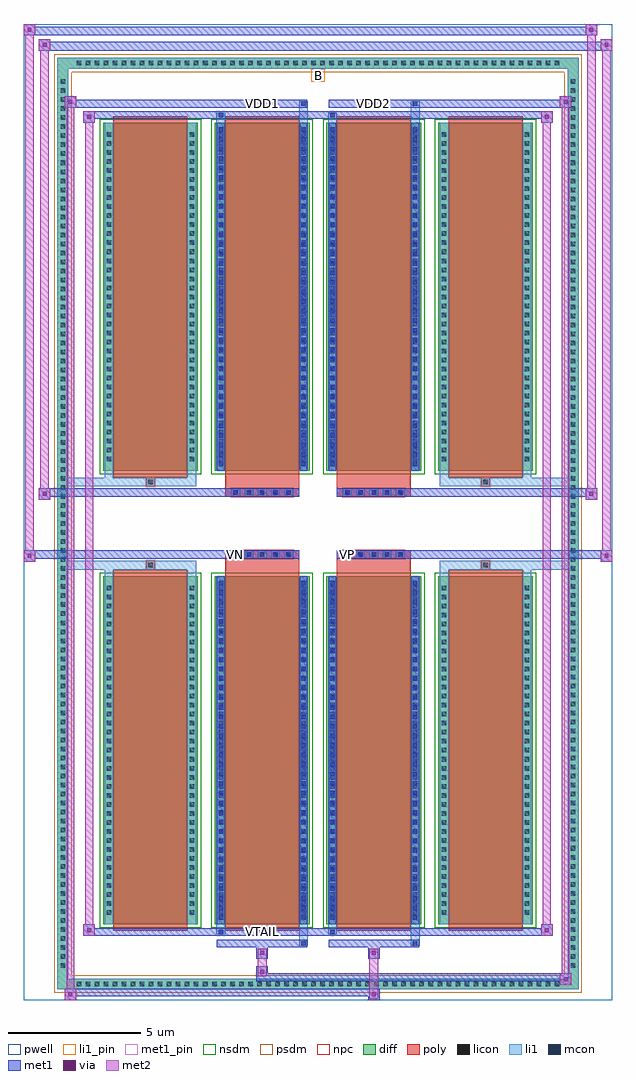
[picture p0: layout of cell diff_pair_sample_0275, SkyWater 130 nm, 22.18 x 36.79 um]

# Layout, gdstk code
import gdstk
lib = gdstk.Library(unit=1e-6, precision=5e-09)
def R(c, l, rs):  # rectangles x0, y0, x1, y1
    for r in rs: c.add(gdstk.rectangle(r[:2], r[2:], *l))
def A(c, l, x, y, w, h, nx, ny, dx, dy):  # array of equal rectangles
    R(c, l, [(x+i*dx, y+j*dy, x+i*dx+w, y+j*dy+h) for i in range(nx) for j in range(ny)])
def P(c, l, *ps):  # polygons
    for p in ps: c.add(gdstk.Polygon(p, *l))
pwell = (64, 44)
diff = (65, 20)
poly = (66, 20)
licon = (66, 44)
li1_pin = (67, 16)
li1 = (67, 20)
mcon = (67, 44)
met1_pin = (68, 16)
met1 = (68, 20)
via = (68, 44)
met2 = (69, 20)
nsdm = (93, 44)
psdm = (94, 20)
npc = (95, 20)

diff_pair_sample_0275 = lib.new_cell('diff_pair_sample_0275')
R(diff_pair_sample_0275, pwell, [(-11.09,-17.96,11.09,18.83), (-8.41,-16.15,-0.01,-0.805), (0.01,-16.15,8.41,-0.805), (-8.41,0.805,-0.01,16.15), (0.01,0.805,8.41,16.15)])
A(diff_pair_sample_0275, diff, -9.215, -17.56, 0.41, 0.41, 54, 2, 0.34, 34.71)
A(diff_pair_sample_0275, diff, -9.82, -16.865, 0.41, 0.41, 1, 99, 0, 0.34)
A(diff_pair_sample_0275, diff, 9.41, -16.865, 0.41, 0.41, 1, 99, 0, 0.34)
A(diff_pair_sample_0275, diff, -8.1, -15.105, 3.57, 13.12, 4, 2, 4.21, 17.09)
R(diff_pair_sample_0275, diff, [(-9.215,-17.56,9.215,-17.15), (-9.82,-16.865,-9.41,16.865), (9.41,-16.865,9.82,16.865), (-9.215,17.15,9.215,17.56)])
P(diff_pair_sample_0275, diff, [(9.82,17.56),(-9.82,17.56),(-9.82,-17.15),(-9.41,-17.15),(-9.41,17.15),(9.41,17.15),(9.41,-17.15),(-9.41,-17.15),(-9.82,-17.15),(-9.82,-17.56),(9.82,-17.56)])
A(diff_pair_sample_0275, poly, -7.71, -15.355, 2.79, 13.62, 4, 2, 4.21, 17.09)
A(diff_pair_sample_0275, poly, -3.27, -1.335, 0.33, 0.33, 5, 2, 0.5, 2.34)
A(diff_pair_sample_0275, poly, 0.94, -1.335, 0.33, 0.33, 5, 2, 0.5, 2.34)
R(diff_pair_sample_0275, poly, [(-6.48,-1.735,-6.15,-1.405), (-6.48,-1.735,-6.15,-1.405), (-3.5,-1.735,-0.71,-1.335), (0.71,-1.735,3.5,-1.335), (6.15,-1.735,6.48,-1.405), (6.15,-1.735,6.48,-1.405), (-3.5,-1.335,-0.71,-1.005), (0.71,-1.335,3.5,-1.005), (-3.5,1.005,-0.71,1.335), (0.71,1.005,3.5,1.335), (-3.5,1.335,-0.71,1.735), (0.71,1.335,3.5,1.735), (-6.48,1.405,-6.15,1.735), (-6.48,1.405,-6.15,1.735), (6.15,1.405,6.48,1.735), (6.15,1.405,6.48,1.735)])
A(diff_pair_sample_0275, licon, -9.095, -17.44, 0.17, 0.17, 54, 2, 0.34, 34.71)
A(diff_pair_sample_0275, licon, -9.7, -16.745, 0.17, 0.17, 1, 99, 0, 0.34)
A(diff_pair_sample_0275, licon, 9.53, -16.745, 0.17, 0.17, 1, 99, 0, 0.34)
A(diff_pair_sample_0275, licon, -7.96, -14.75, 0.17, 0.17, 1, 37, 0, 0.34)
A(diff_pair_sample_0275, licon, -4.84, -14.75, 0.17, 0.17, 1, 37, 0, 0.34)
A(diff_pair_sample_0275, licon, -3.75, -14.75, 0.17, 0.17, 1, 37, 0, 0.34)
A(diff_pair_sample_0275, licon, -0.63, -14.75, 0.17, 0.17, 1, 37, 0, 0.34)
A(diff_pair_sample_0275, licon, 0.46, -14.75, 0.17, 0.17, 1, 37, 0, 0.34)
A(diff_pair_sample_0275, licon, 3.58, -14.75, 0.17, 0.17, 1, 37, 0, 0.34)
A(diff_pair_sample_0275, licon, 4.67, -14.75, 0.17, 0.17, 1, 37, 0, 0.34)
A(diff_pair_sample_0275, licon, 7.79, -14.75, 0.17, 0.17, 1, 37, 0, 0.34)
A(diff_pair_sample_0275, licon, -3.19, -1.255, 0.17, 0.17, 5, 2, 0.5, 2.34)
A(diff_pair_sample_0275, licon, 1.02, -1.255, 0.17, 0.17, 5, 2, 0.5, 2.34)
A(diff_pair_sample_0275, licon, -7.96, 2.34, 0.17, 0.17, 1, 37, 0, 0.34)
A(diff_pair_sample_0275, licon, -4.84, 2.34, 0.17, 0.17, 1, 37, 0, 0.34)
A(diff_pair_sample_0275, licon, -3.75, 2.34, 0.17, 0.17, 1, 37, 0, 0.34)
A(diff_pair_sample_0275, licon, -0.63, 2.34, 0.17, 0.17, 1, 37, 0, 0.34)
A(diff_pair_sample_0275, licon, 0.46, 2.34, 0.17, 0.17, 1, 37, 0, 0.34)
A(diff_pair_sample_0275, licon, 3.58, 2.34, 0.17, 0.17, 1, 37, 0, 0.34)
A(diff_pair_sample_0275, licon, 4.67, 2.34, 0.17, 0.17, 1, 37, 0, 0.34)
A(diff_pair_sample_0275, licon, 7.79, 2.34, 0.17, 0.17, 1, 37, 0, 0.34)
R(diff_pair_sample_0275, licon, [(-6.4,-1.655,-6.23,-1.485), (6.23,-1.655,6.4,-1.485), (-6.4,1.485,-6.23,1.655), (6.23,1.485,6.4,1.655)])
R(diff_pair_sample_0275, li1_pin, [(-0.25,16.65,0.25,17.15)])
A(diff_pair_sample_0275, li1, -9.175, -17.52, 0.33, 0.33, 54, 2, 0.34, 34.71)
A(diff_pair_sample_0275, li1, -9.78, -16.825, 0.33, 0.33, 1, 99, 0, 0.34)
A(diff_pair_sample_0275, li1, 9.45, -16.825, 0.33, 0.33, 1, 99, 0, 0.34)
A(diff_pair_sample_0275, li1, -3.75, -14.93, 0.17, 0.17, 1, 36, 0, 0.36)
A(diff_pair_sample_0275, li1, -0.63, -14.93, 0.17, 0.17, 1, 36, 0, 0.36)
A(diff_pair_sample_0275, li1, 0.46, -14.93, 0.17, 0.17, 1, 36, 0, 0.36)
A(diff_pair_sample_0275, li1, 3.58, -14.93, 0.17, 0.17, 1, 36, 0, 0.36)
A(diff_pair_sample_0275, li1, -8.04, -14.83, 0.33, 0.33, 1, 37, 0, 0.34)
A(diff_pair_sample_0275, li1, -4.92, -14.83, 0.33, 0.33, 1, 37, 0, 0.34)
A(diff_pair_sample_0275, li1, -3.83, -14.83, 0.33, 0.33, 1, 37, 0, 0.34)
A(diff_pair_sample_0275, li1, -0.71, -14.83, 0.33, 0.33, 1, 37, 0, 0.34)
A(diff_pair_sample_0275, li1, 0.38, -14.83, 0.33, 0.33, 1, 37, 0, 0.34)
A(diff_pair_sample_0275, li1, 3.5, -14.83, 0.33, 0.33, 1, 37, 0, 0.34)
A(diff_pair_sample_0275, li1, 4.59, -14.83, 0.33, 0.33, 1, 37, 0, 0.34)
A(diff_pair_sample_0275, li1, 7.71, -14.83, 0.33, 0.33, 1, 37, 0, 0.34)
A(diff_pair_sample_0275, li1, -3.27, -1.335, 0.33, 0.33, 5, 2, 0.5, 2.34)
A(diff_pair_sample_0275, li1, 0.94, -1.335, 0.33, 0.33, 5, 2, 0.5, 2.34)
A(diff_pair_sample_0275, li1, -3.75, 2.16, 0.17, 0.17, 1, 36, 0, 0.36)
A(diff_pair_sample_0275, li1, -0.63, 2.16, 0.17, 0.17, 1, 36, 0, 0.36)
A(diff_pair_sample_0275, li1, 0.46, 2.16, 0.17, 0.17, 1, 36, 0, 0.36)
A(diff_pair_sample_0275, li1, 3.58, 2.16, 0.17, 0.17, 1, 36, 0, 0.36)
A(diff_pair_sample_0275, li1, -8.04, 2.26, 0.33, 0.33, 1, 37, 0, 0.34)
A(diff_pair_sample_0275, li1, -4.92, 2.26, 0.33, 0.33, 1, 37, 0, 0.34)
A(diff_pair_sample_0275, li1, -3.83, 2.26, 0.33, 0.33, 1, 37, 0, 0.34)
A(diff_pair_sample_0275, li1, -0.71, 2.26, 0.33, 0.33, 1, 37, 0, 0.34)
A(diff_pair_sample_0275, li1, 0.38, 2.26, 0.33, 0.33, 1, 37, 0, 0.34)
A(diff_pair_sample_0275, li1, 3.5, 2.26, 0.33, 0.33, 1, 37, 0, 0.34)
A(diff_pair_sample_0275, li1, 4.59, 2.26, 0.33, 0.33, 1, 37, 0, 0.34)
A(diff_pair_sample_0275, li1, 7.71, 2.26, 0.33, 0.33, 1, 37, 0, 0.34)
R(diff_pair_sample_0275, li1, [(-9.82,-17.56,-9.41,-17.15), (-9.82,-17.56,-9.41,-17.15), (-9.41,-17.56,9.41,-17.15), (9.41,-17.56,9.82,-17.15), (9.41,-17.56,9.82,-17.15), (-9.82,-17.15,-9.41,17.15), (9.41,-17.15,9.82,17.15), (-0.71,-15.91,-0.38,-15.105), (-0.63,-15.91,-0.46,-15.74), (3.5,-15.91,3.83,-15.105), (3.58,-15.91,3.75,-15.74), (-3.83,-15.48,-3.5,-15.105), (-3.75,-15.48,-3.58,-15.31), (0.38,-15.48,0.71,-15.105), (0.46,-15.48,0.63,-15.31), (-8.04,-15.105,-7.71,-1.985), (-4.92,-15.105,-4.59,-1.985), (-3.83,-15.105,-3.5,-1.985), (-0.71,-15.105,-0.38,-1.985), (0.38,-15.105,0.71,-1.985), (3.5,-15.105,3.83,-1.985), (4.59,-15.105,4.92,-1.985), (7.71,-15.105,8.04,-1.985), (-3.75,-14.93,-3.58,-2.16), (-0.63,-14.93,-0.46,-2.16), (0.46,-14.93,0.63,-2.16), (3.58,-14.93,3.75,-2.16), (-8.04,-1.985,-7.71,-1.405), (-4.92,-1.985,-4.59,-1.405), (4.59,-1.985,4.92,-1.405), (7.71,-1.985,8.04,-1.405), (-9.82,-1.735,-6.48,-1.405), (-8.04,-1.735,-6.48,-1.405), (-6.48,-1.735,-6.15,-1.405), (-6.15,-1.735,-4.59,-1.405), (4.59,-1.735,6.15,-1.405), (6.15,-1.735,6.48,-1.405), (6.15,-1.735,9.82,-1.405), (6.48,-1.735,8.04,-1.405), (-9.82,1.405,-6.48,1.735), (-8.04,1.405,-6.48,1.735), (-8.04,1.405,-7.71,1.985), (-6.48,1.405,-6.15,1.735), (-6.15,1.405,-4.59,1.735), (-4.92,1.405,-4.59,1.985), (4.59,1.405,6.15,1.735), (4.59,1.405,4.92,1.985), (6.15,1.405,6.48,1.735), (6.15,1.405,9.82,1.735), (6.48,1.405,8.04,1.735), (7.71,1.405,8.04,1.985), (-8.04,1.985,-7.71,15.105), (-4.92,1.985,-4.59,15.105), (-3.83,1.985,-3.5,15.105), (-0.71,1.985,-0.38,15.105), (0.38,1.985,0.71,15.105), (3.5,1.985,3.83,15.105), (4.59,1.985,4.92,15.105), (7.71,1.985,8.04,15.105), (-3.75,2.16,-3.58,14.93), (-0.63,2.16,-0.46,14.93), (0.46,2.16,0.63,14.93), (3.58,2.16,3.75,14.93), (-3.83,15.105,-3.5,15.48), (-0.71,15.105,-0.38,15.91), (0.38,15.105,0.71,15.48), (3.5,15.105,3.83,15.91), (-3.75,15.31,-3.58,15.48), (0.46,15.31,0.63,15.48), (-0.63,15.74,-0.46,15.91), (3.58,15.74,3.75,15.91), (-9.82,17.15,-9.41,17.56), (-9.82,17.15,-9.41,17.56), (-9.41,17.15,9.41,17.56), (9.41,17.15,9.82,17.56), (9.41,17.15,9.82,17.56)])
A(diff_pair_sample_0275, mcon, -3.75, -14.93, 0.17, 0.17, 1, 36, 0, 0.36)
A(diff_pair_sample_0275, mcon, -0.63, -14.93, 0.17, 0.17, 1, 36, 0, 0.36)
A(diff_pair_sample_0275, mcon, 0.46, -14.93, 0.17, 0.17, 1, 36, 0, 0.36)
A(diff_pair_sample_0275, mcon, 3.58, -14.93, 0.17, 0.17, 1, 36, 0, 0.36)
A(diff_pair_sample_0275, mcon, -3.19, -1.255, 0.17, 0.17, 5, 2, 0.5, 2.34)
A(diff_pair_sample_0275, mcon, 1.02, -1.255, 0.17, 0.17, 5, 2, 0.5, 2.34)
A(diff_pair_sample_0275, mcon, -3.75, 2.16, 0.17, 0.17, 1, 36, 0, 0.36)
A(diff_pair_sample_0275, mcon, -0.63, 2.16, 0.17, 0.17, 1, 36, 0, 0.36)
A(diff_pair_sample_0275, mcon, 0.46, 2.16, 0.17, 0.17, 1, 36, 0, 0.36)
A(diff_pair_sample_0275, mcon, 3.58, 2.16, 0.17, 0.17, 1, 36, 0, 0.36)
R(diff_pair_sample_0275, mcon, [(-0.63,-15.91,-0.46,-15.74), (3.58,-15.91,3.75,-15.74), (-3.75,-15.48,-3.58,-15.31), (0.46,-15.48,0.63,-15.31), (-3.75,15.31,-3.58,15.48), (0.46,15.31,0.63,15.48), (-0.63,15.74,-0.46,15.91), (3.58,15.74,3.75,15.91)])
R(diff_pair_sample_0275, met1_pin, [(-2.24,-15.52,-1.97,-15.25), (-3.24,-1.295,-2.97,-1.025), (0.97,-1.295,1.24,-1.025), (-2.24,15.7,-1.97,15.97), (1.97,15.7,2.24,15.97)])
A(diff_pair_sample_0275, met1, -3.81, -14.99, 0.29, 0.29, 1, 36, 0, 0.36)
A(diff_pair_sample_0275, met1, -0.69, -14.99, 0.29, 0.29, 1, 36, 0, 0.36)
A(diff_pair_sample_0275, met1, 0.4, -14.99, 0.29, 0.29, 1, 36, 0, 0.36)
A(diff_pair_sample_0275, met1, 3.52, -14.99, 0.29, 0.29, 1, 36, 0, 0.36)
A(diff_pair_sample_0275, met1, -3.25, -1.315, 0.29, 0.29, 5, 2, 0.5, 2.34)
A(diff_pair_sample_0275, met1, 0.96, -1.315, 0.29, 0.29, 5, 2, 0.5, 2.34)
A(diff_pair_sample_0275, met1, -3.81, 2.1, 0.29, 0.29, 1, 36, 0, 0.36)
A(diff_pair_sample_0275, met1, -0.69, 2.1, 0.29, 0.29, 1, 36, 0, 0.36)
A(diff_pair_sample_0275, met1, 0.4, 2.1, 0.29, 0.29, 1, 36, 0, 0.36)
A(diff_pair_sample_0275, met1, 3.52, 2.1, 0.29, 0.29, 1, 36, 0, 0.36)
R(diff_pair_sample_0275, met1, [(-9.55,-17.96,-9.12,-17.53), (1.89,-17.96,2.32,-17.53), (-9.55,-17.82,2.32,-17.53), (9.12,-17.39,9.55,-16.96), (-2.32,-17.25,9.55,-16.96), (-2.32,-17.11,-1.89,-16.68), (-2.32,-16.4,-1.89,-15.97), (1.89,-16.4,2.32,-15.97), (-3.81,-15.97,-0.4,-15.68), (-0.69,-15.97,-0.4,-15.68), (0.4,-15.97,3.81,-15.68), (3.52,-15.97,3.81,-15.68), (-8.84,-15.54,-8.41,-15.11), (-8.84,-15.54,-3.81,-15.25), (-3.81,-15.54,-3.52,-15.25), (-3.81,-15.54,-0.4,-15.25), (-0.4,-15.54,0.4,-15.25), (0.4,-15.54,0.69,-15.25), (0.4,-15.54,3.81,-15.25), (3.81,-15.54,8.84,-15.25), (8.41,-15.54,8.84,-15.11), (-3.81,-15.105,-3.52,-1.985), (-0.69,-15.105,-0.4,-1.985), (0.4,-15.105,0.69,-1.985), (3.52,-15.105,3.81,-1.985), (-11.09,-1.435,-10.66,-1.005), (10.66,-1.435,11.09,-1.005), (-11.09,-1.335,-0.71,-1.005), (-3.5,-1.335,-0.71,-1.005), (0.71,-1.335,3.5,-1.005), (0.71,-1.335,11.09,-1.005), (-10.52,0.905,-10.09,1.335), (10.09,0.905,10.52,1.335), (-10.52,1.005,-3.5,1.335), (-3.5,1.005,-0.71,1.335), (0.71,1.005,3.5,1.335), (3.5,1.005,10.52,1.335), (-3.81,1.985,-3.52,15.105), (-0.69,1.985,-0.4,15.105), (0.4,1.985,0.69,15.105), (3.52,1.985,3.81,15.105), (-8.84,15.11,-8.41,15.54), (8.41,15.11,8.84,15.54), (-8.84,15.25,-3.81,15.54), (-3.81,15.25,-3.52,15.54), (-3.81,15.25,-0.4,15.54), (-0.4,15.25,0.4,15.54), (0.4,15.25,0.69,15.54), (0.4,15.25,3.81,15.54), (3.81,15.25,8.84,15.54), (-9.55,15.68,-9.12,16.11), (-9.55,15.68,-3.81,15.97), (-3.81,15.68,-0.4,15.97), (-0.69,15.68,-0.4,15.97), (0.4,15.68,3.81,15.97), (3.52,15.68,3.81,15.97), (3.81,15.68,9.55,15.97), (9.12,15.68,9.55,16.11), (-10.52,17.83,-10.09,18.26), (-10.52,17.83,-8.41,18.16), (-8.41,17.83,8.41,18.16), (8.41,17.83,11.09,18.16), (10.66,17.83,11.09,18.26), (-11.09,18.4,-10.66,18.83), (-11.09,18.4,-8.41,18.73), (-8.41,18.4,8.41,18.73), (8.41,18.4,10.52,18.73), (10.09,18.4,10.52,18.83)])
R(diff_pair_sample_0275, via, [(-9.41,-17.82,-9.26,-17.67), (2.03,-17.82,2.18,-17.67), (9.26,-17.25,9.41,-17.1), (-2.18,-16.97,-2.03,-16.82), (-2.18,-16.26,-2.03,-16.11), (2.03,-16.26,2.18,-16.11), (-8.7,-15.4,-8.55,-15.25), (8.55,-15.4,8.7,-15.25), (-10.95,-1.295,-10.8,-1.145), (10.8,-1.295,10.95,-1.145), (-10.38,1.045,-10.23,1.195), (10.23,1.045,10.38,1.195), (-8.7,15.25,-8.55,15.4), (8.55,15.25,8.7,15.4), (-9.41,15.82,-9.26,15.97), (9.26,15.82,9.41,15.97), (-10.38,17.97,-10.23,18.12), (10.8,17.97,10.95,18.12), (-10.95,18.54,-10.8,18.69), (10.23,18.54,10.38,18.69)])
R(diff_pair_sample_0275, met2, [(-9.55,-17.96,-9.12,-17.53), (-9.48,-17.96,-9.19,16.11), (-9.19,-17.96,-9.12,-17.53), (-9.5,-17.91,-9.17,-17.58), (1.94,-17.91,2.27,-17.58), (1.94,-17.58,2.27,-16.35), (9.12,-17.39,9.55,-16.96), (9.19,-17.39,9.48,16.11), (9.48,-17.39,9.55,-16.96), (9.17,-17.34,9.5,-17.01), (-2.27,-17.06,-1.94,-16.73), (-2.27,-16.73,-1.94,-16.35), (-2.27,-16.35,-1.94,-16.02), (1.94,-16.35,2.27,-16.02), (-8.84,-15.54,-8.41,-15.11), (-8.77,-15.54,-8.48,15.54), (-8.48,-15.54,-8.41,-15.11), (8.41,-15.54,8.84,-15.11), (8.48,-15.54,8.77,15.54), (8.77,-15.54,8.84,-15.11), (-8.79,-15.49,-8.46,-15.16), (8.46,-15.49,8.79,-15.16), (-11.09,-1.435,-10.66,-1.005), (-11.04,-1.435,-10.71,18.83), (-10.71,-1.435,-10.66,-1.005), (10.66,-1.435,11.09,-1.005), (10.71,-1.435,11.04,18.26), (11.04,-1.435,11.09,-1.005), (-11.04,-1.385,-10.71,-1.055), (10.71,-1.385,11.04,-1.055), (-10.52,0.905,-10.09,1.335), (-10.47,0.905,-10.14,18.26), (-10.14,0.905,-10.09,1.335), (10.09,0.905,10.52,1.335), (10.14,0.905,10.47,18.83), (10.47,0.905,10.52,1.335), (-10.47,0.955,-10.14,1.285), (10.14,0.955,10.47,1.285), (-8.84,15.11,-8.41,15.54), (-8.48,15.11,-8.41,15.54), (8.41,15.11,8.84,15.54), (8.77,15.11,8.84,15.54), (-8.79,15.16,-8.46,15.49), (8.46,15.16,8.79,15.49), (-9.55,15.68,-9.12,16.11), (-9.19,15.68,-9.12,16.11), (9.12,15.68,9.55,16.11), (9.48,15.68,9.55,16.11), (-9.5,15.73,-9.17,16.06), (9.17,15.73,9.5,16.06), (-10.52,17.83,-10.09,18.26), (-10.14,17.83,-10.09,18.26), (10.66,17.83,11.09,18.26), (11.04,17.83,11.09,18.26), (-10.47,17.88,-10.14,18.21), (10.71,17.88,11.04,18.21), (-11.09,18.4,-10.66,18.83), (-10.71,18.4,-10.66,18.83), (10.09,18.4,10.52,18.83), (10.47,18.4,10.52,18.83), (-11.04,18.45,-10.71,18.78), (10.14,18.45,10.47,18.78)])
A(diff_pair_sample_0275, nsdm, -8.23, -15.235, 3.83, 13.38, 4, 2, 4.21, 17.09)
P(diff_pair_sample_0275, psdm, [(9.95,17.69),(-9.95,17.69),(-9.95,-17.02),(-9.28,-17.02),(-9.28,17.02),(9.28,17.02),(9.28,-17.02),(-9.28,-17.02),(-9.95,-17.02),(-9.95,-17.69),(9.95,-17.69)])
A(diff_pair_sample_0275, npc, -3.29, -1.355, 0.37, 0.37, 5, 2, 0.5, 2.34)
A(diff_pair_sample_0275, npc, 0.92, -1.355, 0.37, 0.37, 5, 2, 0.5, 2.34)
R(diff_pair_sample_0275, npc, [(-6.5,-1.755,-6.13,-1.385), (6.13,-1.755,6.5,-1.385), (-3.29,-1.355,-2.42,-0.985), (-3.29,-1.355,-2.42,-0.985), (-2.79,-1.355,-1.92,-0.985), (-2.79,-1.355,-1.92,-0.985), (-2.29,-1.355,-1.42,-0.985), (-2.29,-1.355,-1.42,-0.985), (-1.79,-1.355,-0.92,-0.985), (-1.79,-1.355,-0.92,-0.985), (0.92,-1.355,1.79,-0.985), (0.92,-1.355,1.79,-0.985), (1.42,-1.355,2.29,-0.985), (1.42,-1.355,2.29,-0.985), (1.92,-1.355,2.79,-0.985), (1.92,-1.355,2.79,-0.985), (2.42,-1.355,3.29,-0.985), (2.42,-1.355,3.29,-0.985), (-3.29,0.985,-2.42,1.355), (-3.29,0.985,-2.42,1.355), (-2.79,0.985,-1.92,1.355), (-2.79,0.985,-1.92,1.355), (-2.29,0.985,-1.42,1.355), (-2.29,0.985,-1.42,1.355), (-1.79,0.985,-0.92,1.355), (-1.79,0.985,-0.92,1.355), (0.92,0.985,1.79,1.355), (0.92,0.985,1.79,1.355), (1.42,0.985,2.29,1.355), (1.42,0.985,2.29,1.355), (1.92,0.985,2.79,1.355), (1.92,0.985,2.79,1.355), (2.42,0.985,3.29,1.355), (2.42,0.985,3.29,1.355), (-6.5,1.385,-6.13,1.755), (6.13,1.385,6.5,1.755)])
diff_pair_sample_0275.add(gdstk.Label('VTAIL', (-2.105,-15.385), layer=68, texttype=5))
diff_pair_sample_0275.add(gdstk.Label('VN', (-3.105,-1.16), layer=68, texttype=5))
diff_pair_sample_0275.add(gdstk.Label('VP', (1.105,-1.16), layer=68, texttype=5))
diff_pair_sample_0275.add(gdstk.Label('B', (0,16.9), layer=67, texttype=5))
diff_pair_sample_0275.add(gdstk.Label('VDD2', (2.105,15.835), layer=68, texttype=5))
diff_pair_sample_0275.add(gdstk.Label('VDD1', (-2.105,15.835), layer=68, texttype=5))

lib.write_gds('diff_pair_sample_0275.gds')
